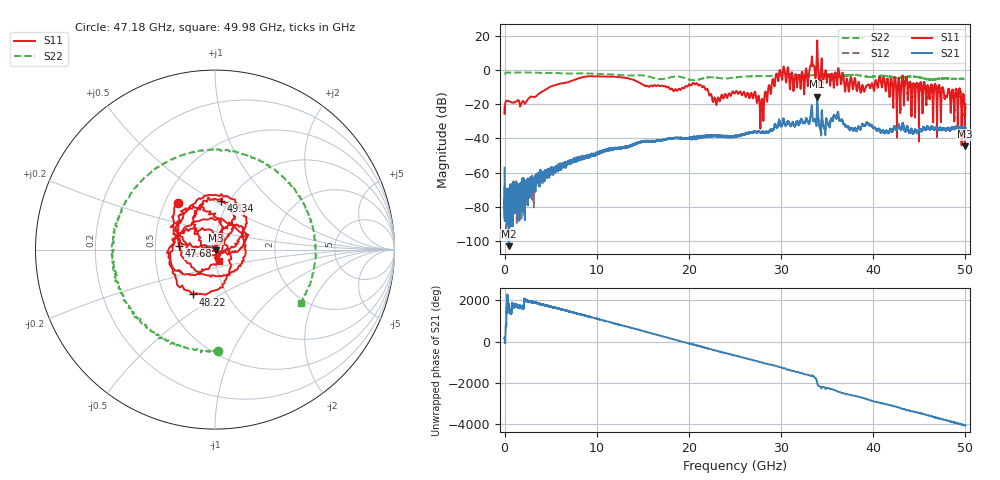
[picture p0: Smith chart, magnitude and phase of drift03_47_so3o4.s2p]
!Created with skrf (http://scikit-rf.org).
# Hz S RI R 50.0
!freq ReS11 ImS11 ReS21 ImS21 ReS12 ImS12 ReS22 ImS22
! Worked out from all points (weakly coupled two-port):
!   10001 points, 300 kHz to 50 GHz, reference 50 ohm
!   highest |S21| = -15.52 dB at 33.92 GHz (marker M1); lowest = -103.1 dB at 470.3 MHz (marker M2)
!   lowest |S11| = -44.5 dB at 49.94 GHz (marker M3), VSWR 1.01, Z = 50.5 - j0.329 ohm
!   |S11| at or under -10 dB: start of sweep to 4.851 GHz; 21.69 GHz to 28.62 GHz (6.936 GHz wide, 27.6 % of centre); 47.19 GHz to end of sweep (the widest 3 of 43)
!   |S22| runs from -5.9 to -1.3 dB; largest |S21 - S12| = 0.018
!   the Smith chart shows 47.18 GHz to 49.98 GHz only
!   S11 on the Smith chart (normalised r, x): 47.18 GHz: 0.59, +0.34; 47.68 GHz: 0.66, +0.03; 48.22 GHz: 0.70, -0.38; 49.34 GHz: 0.92, +0.54; 49.98 GHz: 1.04, -0.13
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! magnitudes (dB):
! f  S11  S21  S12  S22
! 300 kHz  -21.5  -57.2  -82.3  -2.0
! 470.3 MHz  -18.2  -103.1  -73.7  -1.5
! 8.335 GHz  -4.3  -51.8  -51.5  -1.9
! 16.67 GHz  -8.8  -41.2  -41.4  -5.2
! 21.01 GHz  -8.7  -39.2  -39.3  -5.5
! 22.81 GHz  -16.1  -38.2  -38.5  -4.2
! 25 GHz  -13.4  -39.1  -38.6  -4.3
! 27.02 GHz  -15.7  -36.4  -35.9  -3.5
! 27.92 GHz  -17.1  -36.5  -36.4  -3.5
! 29.69 GHz  -6.5  -31.8  -31.6  -3.1
! 32.32 GHz  -1.5  -30.5  -30.6  -3.3
! 33.34 GHz  8.0  -20.5  -20.9  -2.9
! 33.92 GHz  17.4  -15.5  -15.6  -2.5
! 38.82 GHz  -9.1  -31.4  -31.8  -3.4
! 41.67 GHz  -9.0  -36.6  -36.6  -3.6
! 47.18 GHz  -9.6  -34.3  -34.3  -4.9
! 47.68 GHz  -13.8  -33.7  -34.0  -4.8
! 48.22 GHz  -11.1  -34.0  -34.2  -4.9
! 49.34 GHz  -11.3  -33.5  -33.8  -5.1
! 49.94 GHz  -44.5  -34.1  -33.5  -5.0
! 49.98 GHz  -23.8  -33.6  -34.1  -5.0
! 50 GHz  -20.2  -33.8  -34.0  -4.9
